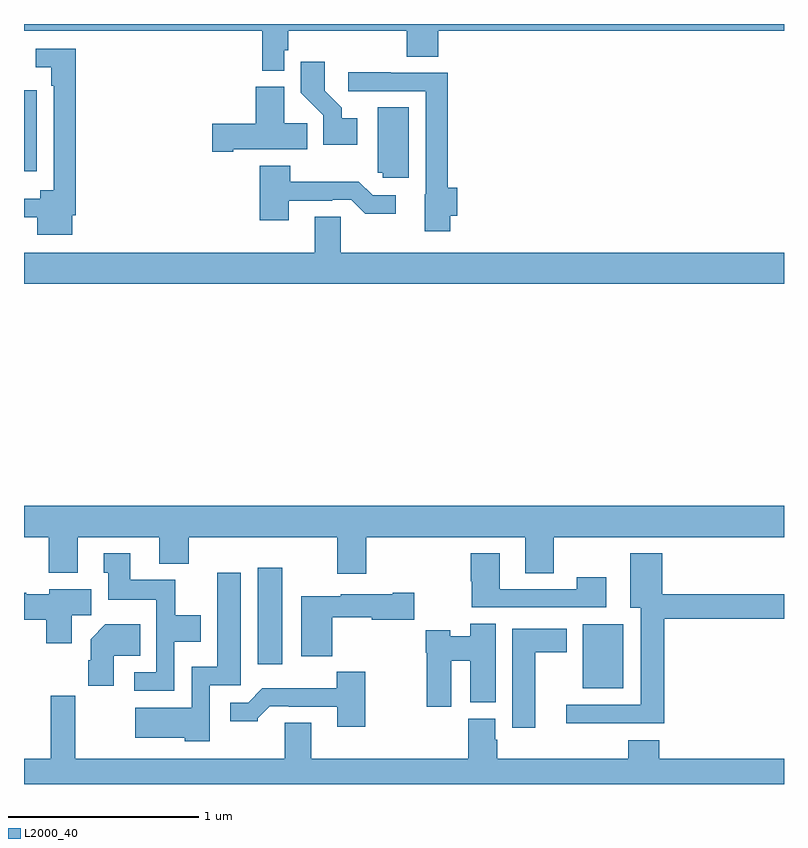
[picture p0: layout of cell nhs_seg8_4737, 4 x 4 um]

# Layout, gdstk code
import gdstk
lib = gdstk.Library(unit=1e-6, precision=1e-09)
def R(c, l, rs):  # rectangles x0, y0, x1, y1
    for r in rs: c.add(gdstk.rectangle(r[:2], r[2:], *l))
def P(c, l, *ps):  # polygons
    for p in ps: c.add(gdstk.Polygon(p, *l))
L2000_40 = (2000, 40)

nhs_seg8_4737 = lib.new_cell('nhs_seg8_4737')
R(nhs_seg8_4737, L2000_40, [(401.942,1082.405,402.154,1082.74), (400.229,1082.529,400.36,1083.037), (399,1085.124,399.067,1085.551)])
P(nhs_seg8_4737, L2000_40, [(400.371,1085.763),(400.391,1085.763),(400.391,1085.864),(401.015,1085.864),(401.015,1085.728),(401.18,1085.728),(401.18,1085.864),(403,1085.864),(403,1085.9),(399,1085.9),(399,1085.864),(400.255,1085.864),(400.255,1085.654),(400.371,1085.654)],
  [(399.253,1084.894),(399.272,1084.894),(399.272,1085.769),(399.063,1085.769),(399.063,1085.673),(399.144,1085.673),(399.144,1085.576),(399.156,1085.576),(399.156,1085.026),(399.086,1085.026),(399.086,1084.98),(399,1084.98),(399,1084.884),(399.071,1084.884),(399.071,1084.79),(399.253,1084.79)],
  [(400.753,1085.404),(400.672,1085.404),(400.672,1085.459),(400.582,1085.549),(400.582,1085.701),(400.456,1085.701),(400.456,1085.538),(400.575,1085.419),(400.575,1085.264),(400.753,1085.264)],
  [(401.244,1084.89),(401.279,1084.89),(401.279,1085.039),(401.231,1085.039),(401.231,1085.643),(400.931,1085.643),(400.931,1085.646),(400.707,1085.646),(400.707,1085.547),(401.115,1085.547),(401.115,1085.004),(401.108,1085.004),(401.108,1084.808),(401.244,1084.808)],
  [(400.102,1085.24),(400.49,1085.24),(400.49,1085.378),(400.369,1085.378),(400.369,1085.569),(400.22,1085.569),(400.22,1085.375),(399.99,1085.375),(399.99,1085.228),(400.102,1085.228)],
  [(401.026,1085.462),(400.862,1085.462),(400.862,1085.118),(400.887,1085.118),(400.887,1085.091),(401.026,1085.091)],
  [(400.393,1084.971),(400.622,1084.971),(400.622,1084.974),(400.722,1084.974),(400.795,1084.901),(400.957,1084.901),(400.957,1084.998),(400.836,1084.998),(400.763,1085.071),(400.401,1085.071),(400.401,1085.155),(400.241,1085.155),(400.241,1084.866),(400.393,1084.866)],
  [(403,1084.696),(400.668,1084.696),(400.668,1084.886),(400.529,1084.886),(400.529,1084.696),(399,1084.696),(399,1084.532),(403,1084.532)],
  [(399,1083.2),(399.131,1083.2),(399.131,1083.011),(399.283,1083.011),(399.283,1083.2),(399.713,1083.2),(399.713,1083.059),(399.866,1083.059),(399.866,1083.2),(400.649,1083.2),(400.649,1083.006),(400.802,1083.006),(400.802,1083.2),(401.639,1083.2),(401.639,1083.01),(401.787,1083.01),(401.787,1083.2),(403,1083.2),(403,1083.364),(399,1083.364)],
  [(402.371,1082.77),(403,1082.77),(403,1082.899),(402.358,1082.899),(402.358,1083.115),(402.191,1083.115),(402.191,1082.828),(402.245,1082.828),(402.245,1082.316),(401.853,1082.316),(401.853,1082.219),(402.371,1082.219)],
  [(399.792,1082.648),(399.931,1082.648),(399.931,1082.788),(399.795,1082.788),(399.795,1082.974),(399.559,1082.974),(399.559,1083.115),(399.419,1083.115),(399.419,1083.012),(399.443,1083.012),(399.443,1082.87),(399.696,1082.87),(399.696,1082.487),(399.579,1082.487),(399.579,1082.391),(399.792,1082.391)],
  [(402.064,1082.989),(401.908,1082.989),(401.908,1082.925),(401.503,1082.925),(401.503,1083.115),(401.351,1083.115),(401.351,1082.967),(401.356,1082.967),(401.356,1082.829),(402.064,1082.829)],
  [(399.978,1082.421),(400.141,1082.421),(400.141,1083.013),(400.016,1083.013),(400.016,1082.518),(399.882,1082.518),(399.882,1082.302),(399.585,1082.302),(399.585,1082.144),(399.846,1082.144),(399.846,1082.126),(399.978,1082.126)],
  [(399.25,1082.788),(399.355,1082.788),(399.355,1082.926),(399.132,1082.926),(399.132,1082.899),(399.012,1082.899),(399.012,1082.907),(399,1082.907),(399,1082.765),(399.116,1082.765),(399.116,1082.64),(399.25,1082.64)],
  [(400.622,1082.777),(400.83,1082.777),(400.83,1082.765),(401.053,1082.765),(401.053,1082.907),(400.94,1082.907),(400.94,1082.899),(400.668,1082.899),(400.668,1082.887),(400.46,1082.887),(400.46,1082.573),(400.622,1082.573)],
  [(401.248,1082.548),(401.348,1082.548),(401.348,1082.329),(401.482,1082.329),(401.482,1082.744),(401.348,1082.744),(401.348,1082.677),(401.244,1082.677),(401.244,1082.708),(401.114,1082.708),(401.114,1082.591),(401.119,1082.591),(401.119,1082.307),(401.248,1082.307)],
  [(399.472,1082.576),(399.611,1082.576),(399.611,1082.74),(399.428,1082.74),(399.35,1082.662),(399.35,1082.552),(399.338,1082.552),(399.338,1082.418),(399.472,1082.418)],
  [(401.692,1082.594),(401.857,1082.594),(401.857,1082.716),(401.57,1082.716),(401.57,1082.196),(401.692,1082.196)],
  [(400.797,1082.491),(400.647,1082.491),(400.647,1082.404),(400.255,1082.404),(400.179,1082.328),(400.086,1082.328),(400.086,1082.231),(400.23,1082.231),(400.23,1082.246),(400.294,1082.31),(400.393,1082.31),(400.393,1082.307),(400.649,1082.307),(400.649,1082.202),(400.797,1082.202)],
  [(403,1082.032),(402.344,1082.032),(402.344,1082.131),(402.179,1082.131),(402.179,1082.032),(401.492,1082.032),(401.492,1082.133),(401.479,1082.133),(401.479,1082.244),(401.339,1082.244),(401.339,1082.032),(400.513,1082.032),(400.513,1082.222),(400.373,1082.222),(400.373,1082.032),(399.271,1082.032),(399.271,1082.365),(399.142,1082.365),(399.142,1082.032),(399,1082.032),(399,1081.9),(403,1081.9)])

lib.write_gds('nhs_seg8_4737.gds')
